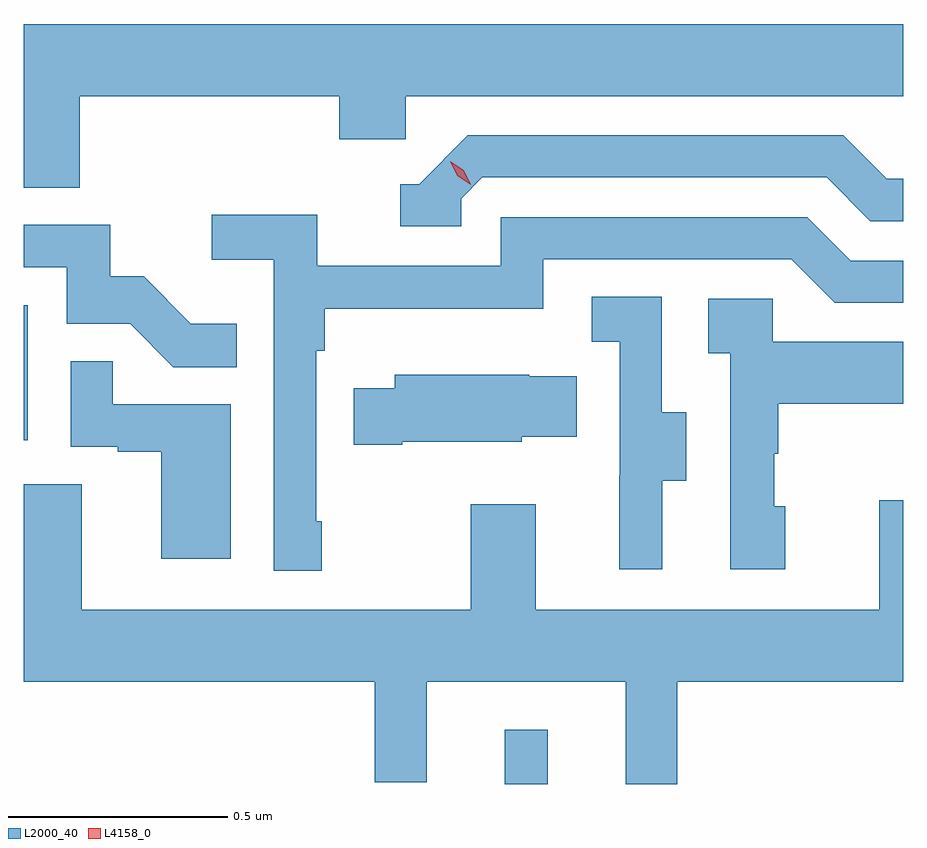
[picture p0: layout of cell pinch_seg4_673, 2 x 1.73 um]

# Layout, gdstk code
import gdstk
lib = gdstk.Library(unit=1e-6, precision=1e-09)
def R(c, l, rs):  # rectangles x0, y0, x1, y1
    for r in rs: c.add(gdstk.rectangle(r[:2], r[2:], *l))
def P(c, l, *ps):  # polygons
    for p in ps: c.add(gdstk.Polygon(p, *l))
L2000_40 = (2000, 40)
L4158_0 = (4158, 0)

pinch_seg4_673 = lib.new_cell('pinch_seg4_673')
R(pinch_seg4_673, L2000_40, [(1125.831,765.952,1125.928,766.075), (1124.737,766.734,1124.746,767.041)])
P(pinch_seg4_673, L2000_40, [(1124.864,767.516),(1125.455,767.516),(1125.455,767.418),(1125.606,767.418),(1125.606,767.516),(1126.737,767.516),(1126.737,767.68),(1124.737,767.68),(1124.737,767.308),(1124.864,767.308)],
  [(1125.732,767.283),(1125.78,767.331),(1126.563,767.331),(1126.662,767.232),(1126.737,767.232),(1126.737,767.328),(1126.699,767.328),(1126.6,767.427),(1125.747,767.427),(1125.636,767.316),(1125.593,767.316),(1125.593,767.22),(1125.732,767.22)],
  [(1125.415,766.549),(1125.402,766.549),(1125.402,766.937),(1125.422,766.937),(1125.422,767.033),(1125.918,767.033),(1125.918,767.145),(1126.482,767.145),(1126.581,767.046),(1126.737,767.046),(1126.737,767.142),(1126.618,767.142),(1126.519,767.241),(1125.822,767.241),(1125.822,767.13),(1125.404,767.13),(1125.404,767.246),(1125.165,767.246),(1125.165,767.144),(1125.306,767.144),(1125.306,766.437),(1125.415,766.437)],
  [(1125.221,766.999),(1125.117,766.999),(1125.01,767.106),(1124.934,767.106),(1124.934,767.223),(1124.737,767.223),(1124.737,767.127),(1124.835,767.127),(1124.835,766.998),(1124.979,766.998),(1125.077,766.9),(1125.221,766.9)],
  [(1126.189,766.642),(1126.243,766.642),(1126.243,766.797),(1126.188,766.797),(1126.188,767.06),(1126.029,767.06),(1126.029,766.957),(1126.092,766.957),(1126.092,766.653),(1126.091,766.653),(1126.091,766.44),(1126.189,766.44)],
  [(1126.468,766.584),(1126.443,766.584),(1126.443,766.703),(1126.453,766.703),(1126.453,766.817),(1126.737,766.817),(1126.737,766.957),(1126.44,766.957),(1126.44,767.055),(1126.293,767.055),(1126.293,766.931),(1126.344,766.931),(1126.344,766.44),(1126.468,766.44)],
  [(1125.208,766.815),(1124.939,766.815),(1124.939,766.913),(1124.844,766.913),(1124.844,766.719),(1124.951,766.719),(1124.951,766.707),(1125.05,766.707),(1125.05,766.464),(1125.208,766.464)],
  [(1125.598,766.73),(1125.87,766.73),(1125.87,766.742),(1125.995,766.742),(1125.995,766.879),(1125.887,766.879),(1125.887,766.882),(1125.581,766.882),(1125.581,766.852),(1125.487,766.852),(1125.487,766.723),(1125.598,766.723)],
  [(1126.223,766.184),(1126.737,766.184),(1126.737,766.597),(1126.682,766.597),(1126.682,766.348),(1125.901,766.348),(1125.901,766.588),(1125.754,766.588),(1125.754,766.348),(1124.869,766.348),(1124.869,766.634),(1124.737,766.634),(1124.737,766.184),(1125.535,766.184),(1125.535,765.956),(1125.653,765.956),(1125.653,766.184),(1126.106,766.184),(1126.106,765.952),(1126.223,765.952)])
P(pinch_seg4_673, L4158_0, [(1125.754,767.315),(1125.723,767.335),(1125.707,767.367),(1125.707,767.368),(1125.707,767.368),(1125.738,767.348),(1125.754,767.316),(1125.754,767.315)])

lib.write_gds('pinch_seg4_673.gds')
